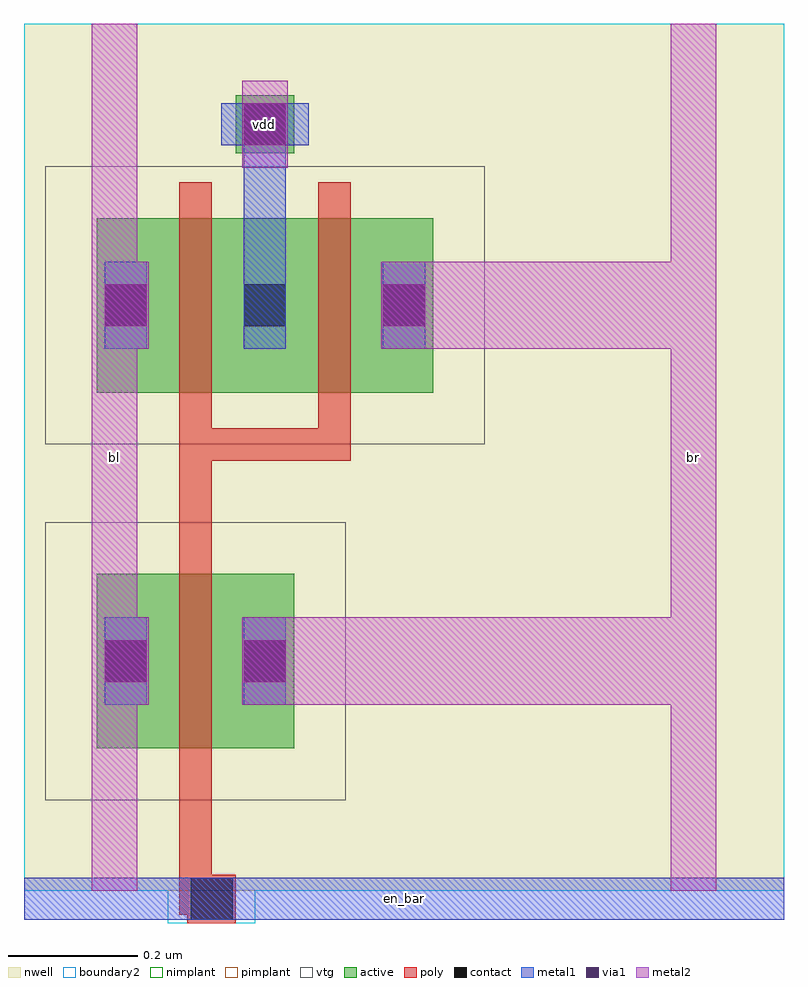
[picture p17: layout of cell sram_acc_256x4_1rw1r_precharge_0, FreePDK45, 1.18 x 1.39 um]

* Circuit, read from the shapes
.subckt sram_acc_256x4_1rw1r_precharge_0 bl br en_bar vdd
M1 br en_bar bl vdd pfet w=0.27u l=0.05u
M2 vdd en_bar bl vdd pfet w=0.27u l=0.05u
M3 br en_bar vdd vdd pfet w=0.27u l=0.05u
.ends

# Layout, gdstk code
import gdstk
lib = gdstk.Library(unit=1e-6, precision=5e-10)
def R(c, l, rs):  # rectangles x0, y0, x1, y1
    for r in rs: c.add(gdstk.rectangle(r[:2], r[2:], *l))
active = (1, 0)
nwell = (3, 0)
nimplant = (4, 0)
pimplant = (5, 0)
vtg = (6, 0)
poly = (9, 0)
contact = (10, 0)
metal1 = (11, 0)
via1 = (12, 0)
metal2 = (13, 0)
boundary2 = (239, 0)

sram_acc_256x4_1rw1r_con = lib.new_cell('sram_acc_256x4_1rw1r_contact_11')
R(sram_acc_256x4_1rw1r_con, active, [(0,0.0225,0.09,0.1125)])
R(sram_acc_256x4_1rw1r_con, nwell, [(-0.055,-0.0325,0.145,0.1675)])
R(sram_acc_256x4_1rw1r_con, pimplant, [(0,0.0225,0.09,0.1125)])
R(sram_acc_256x4_1rw1r_con, contact, [(0.0125,0.035,0.0775,0.1)])
R(sram_acc_256x4_1rw1r_con, metal1, [(0.0125,0,0.0775,0.135)])
R(sram_acc_256x4_1rw1r_con, boundary2, [(-0.055,-0.0325,0.145,0.1675)])

sram_acc_256x4_1rw1r_pmo = lib.new_cell('sram_acc_256x4_1rw1r_pmos_m1_w0_270_sm1_dm1')
R(sram_acc_256x4_1rw1r_pmo, active, [(0,0,0.305,0.27)])
R(sram_acc_256x4_1rw1r_pmo, nwell, [(-0.08,-0.08,0.385,0.35)])
R(sram_acc_256x4_1rw1r_pmo, pimplant, [(0,0,0.305,0.27)])
R(sram_acc_256x4_1rw1r_pmo, vtg, [(-0.08,-0.08,0.385,0.35)])
R(sram_acc_256x4_1rw1r_pmo, poly, [(0.1275,-0.055,0.1775,0.325), (0.1275,-0.055,0.1775,0.325)])
R(sram_acc_256x4_1rw1r_pmo, metal1, [(0.0125,0.0675,0.0775,0.2025), (0.2275,0.0675,0.2925,0.2025)])
R(sram_acc_256x4_1rw1r_pmo, boundary2, [(-0.08,-0.08,0.385,0.35)])
sram_acc_256x4_1rw1r_pmo.add(gdstk.Reference(sram_acc_256x4_1rw1r_con, (0,0.0675)))
sram_acc_256x4_1rw1r_pmo.add(gdstk.Reference(sram_acc_256x4_1rw1r_con, (0.215,0.0675)))
sram_acc_256x4_1rw1r_pmo.add(gdstk.Label('G', (0.1525,0.135), layer=9, texttype=0))
sram_acc_256x4_1rw1r_pmo.add(gdstk.Label('S', (0.045,0.135), layer=11, texttype=0))
sram_acc_256x4_1rw1r_pmo.add(gdstk.Label('D', (0.26,0.135), layer=11, texttype=0))

c_sram_acc_256x4_1rw1r_con = lib.new_cell('sram_acc_256x4_1rw1r_contact_14')
R(c_sram_acc_256x4_1rw1r_con, poly, [(0.03,0,0.105,0.075)])
R(c_sram_acc_256x4_1rw1r_con, contact, [(0.035,0.005,0.1,0.07)])
R(c_sram_acc_256x4_1rw1r_con, metal1, [(0,0.005,0.135,0.07)])
R(c_sram_acc_256x4_1rw1r_con, boundary2, [(0,0,0.135,0.075)])

c_sram_acc_256x4_1rw1r_con_ = lib.new_cell('sram_acc_256x4_1rw1r_contact_22')
R(c_sram_acc_256x4_1rw1r_con_, active, [(0.0225,0,0.1125,0.09)])
R(c_sram_acc_256x4_1rw1r_con_, nwell, [(-0.0325,-0.055,0.1675,0.145)])
R(c_sram_acc_256x4_1rw1r_con_, nimplant, [(0.0225,0,0.1125,0.09)])
R(c_sram_acc_256x4_1rw1r_con_, contact, [(0.035,0.0125,0.1,0.0775)])
R(c_sram_acc_256x4_1rw1r_con_, metal1, [(0,0.0125,0.135,0.0775)])
R(c_sram_acc_256x4_1rw1r_con_, boundary2, [(-0.0325,-0.055,0.1675,0.145)])

c_sram_acc_256x4_1rw1r_con__ = lib.new_cell('sram_acc_256x4_1rw1r_contact_17')
R(c_sram_acc_256x4_1rw1r_con__, metal1, [(0,0.035,0.135,0.1)])
R(c_sram_acc_256x4_1rw1r_con__, via1, [(0.035,0.035,0.1,0.1)])
R(c_sram_acc_256x4_1rw1r_con__, metal2, [(0.0325,0,0.1025,0.135)])
R(c_sram_acc_256x4_1rw1r_con__, boundary2, [(0,0,0.135,0.135)])

c_sram_acc_256x4_1rw1r_con___ = lib.new_cell('sram_acc_256x4_1rw1r_contact_23')
R(c_sram_acc_256x4_1rw1r_con___, metal1, [(0.0025,0,0.0675,0.135)])
R(c_sram_acc_256x4_1rw1r_con___, via1, [(0.0025,0.035,0.0675,0.1)])
R(c_sram_acc_256x4_1rw1r_con___, metal2, [(0,0,0.07,0.135)])
R(c_sram_acc_256x4_1rw1r_con___, boundary2, [(0,0,0.07,0.135)])

sram_acc_256x4_1rw1r_pre = lib.new_cell('sram_acc_256x4_1rw1r_precharge_0')
R(sram_acc_256x4_1rw1r_pre, nwell, [(0,0,1.175,1.34)])
R(sram_acc_256x4_1rw1r_pre, poly, [(0.24,-0.0375,0.29,0.0125), (0.265,-0.0375,0.29,0.0125), (0.24,-0.0125,0.29,0.165), (0.24,0.545,0.29,0.715), (0.24,0.665,0.505,0.715)])
R(sram_acc_256x4_1rw1r_pre, metal1, [(0,-0.045,1.175,0.02), (0.34,0.905,0.405,1.185), (0.34,1.1525,0.405,1.2175)])
R(sram_acc_256x4_1rw1r_pre, metal2, [(0.105,0,0.175,1.34), (0.105,0,0.175,1.34), (1,0,1.07,1.34), (1,0,1.07,1.34), (0.14,0.2875,0.1575,0.4225), (0.3725,0.2875,1.035,0.4225), (0.14,0.8375,0.1575,0.9725), (0.5875,0.8375,1.035,0.9725)])
R(sram_acc_256x4_1rw1r_pre, boundary2, [(0,0,1.175,1.34)])
sram_acc_256x4_1rw1r_pre.add(gdstk.Reference(sram_acc_256x4_1rw1r_pmo, (0.1125,0.22)))
sram_acc_256x4_1rw1r_pre.add(gdstk.Reference(sram_acc_256x4_1rw1r_pmo, (0.1125,0.77)))
sram_acc_256x4_1rw1r_pre.add(gdstk.Reference(sram_acc_256x4_1rw1r_pmo, (0.3275,0.77)))
sram_acc_256x4_1rw1r_pre.add(gdstk.Reference(c_sram_acc_256x4_1rw1r_con, (0.2225,-0.05)))
sram_acc_256x4_1rw1r_pre.add(gdstk.Reference(c_sram_acc_256x4_1rw1r_con_, (0.305,1.14)))
sram_acc_256x4_1rw1r_pre.add(gdstk.Reference(c_sram_acc_256x4_1rw1r_con__, (0.305,1.1175)))
sram_acc_256x4_1rw1r_pre.add(gdstk.Reference(c_sram_acc_256x4_1rw1r_con___, (0.1225,0.2875)))
sram_acc_256x4_1rw1r_pre.add(gdstk.Reference(c_sram_acc_256x4_1rw1r_con___, (0.3375,0.2875)))
sram_acc_256x4_1rw1r_pre.add(gdstk.Reference(c_sram_acc_256x4_1rw1r_con___, (0.1225,0.8375)))
sram_acc_256x4_1rw1r_pre.add(gdstk.Reference(c_sram_acc_256x4_1rw1r_con___, (0.5525,0.8375)))
sram_acc_256x4_1rw1r_pre.add(gdstk.Label('en_bar', (0.5875,-0.0125), layer=11, texttype=0))
sram_acc_256x4_1rw1r_pre.add(gdstk.Label('vdd', (0.3725,1.185), layer=11, texttype=0))
sram_acc_256x4_1rw1r_pre.add(gdstk.Label('bl', (0.14,0.67), layer=13, texttype=0))
sram_acc_256x4_1rw1r_pre.add(gdstk.Label('br', (1.035,0.67), layer=13, texttype=0))

lib.write_gds('sram_acc_256x4_1rw1r_precharge_0.gds')
